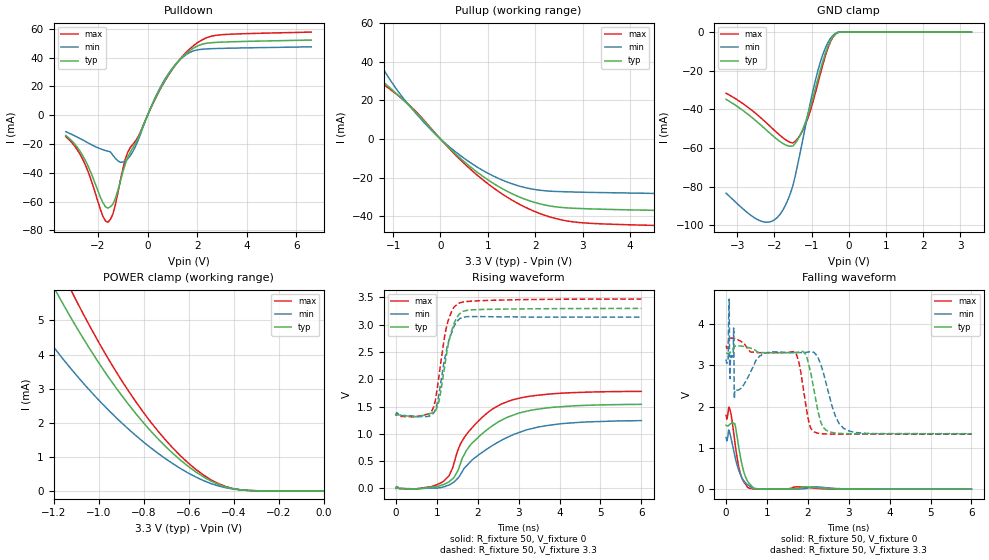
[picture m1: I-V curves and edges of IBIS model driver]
| IBIS file io_buf_50ps_probe.ibs created by PYS2IBIS3
| Missouri S&T EMC Lab
[IBIS Ver] 5.1
[File Name] io_buf_50ps_probe.ibs
[File Rev] 0.1
[Date] December 6, 2025
[Source] Netlist generated by Grok
[Notes] Observation pass for parameter selection.
[Disclaimer] This buffer is not a real buffer. It is a imaginay buffer. What
 is a imaginay buffer? An imagnary buffer is a buffer that is...
[Copyright] Missouri S&T EMC Lab
[Component] MCM Driver 1
[Manufacturer] MegaFLOPS Inc.
[Package]
| variable   typ   min   max
R_pkg 0 NA NA
L_pkg 0H NA NA
C_pkg 0F NA NA
[Pin]  signal_name   model_name   R_pin   L_pin   C_pin
vss   vss   GND
vdd   vdd   POWER
| oe oe dummy
| in in dummy
out   out   driver
| End of Component
| Models and submodels in the file (1): driver (I/O)
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[Model] driver
Model_type I/O
Polarity Non-Inverting
Enable Active-High
Vinl  = 0.8V
Vinh  = 2V
C_comp 1.2000pF 1.0000pF 1.4000pF
[Temperature Range] 27.0000 100.0000 0.0000
[Voltage Range] 3.3000V 3.0000V 3.6000V
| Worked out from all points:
|   slope of the pulldown table from 0 to 0.495 V, typ, clamps not added: 27.4 ohm
|   slope of the pullup table from 0 to 0.495 V, typ, clamps not added: 42.7 ohm
|   GND clamp passes 1 mA (typ) near -0.36 V on its own axis
|   POWER clamp passes 1 mA (typ) near -0.65 V on its own axis
|   rising waveform, R_fixture 50, V_fixture 0: 20-80 % time 1.04ns typ, 1.32ns min, 928ps max; typ from 0 V to 1.54 V
|   rising waveform, R_fixture 50, V_fixture 3.3: 20-80 % time 281ps typ, 278ps min, 270ps max; typ from 1.34 V to 3.3 V
|   falling waveform, R_fixture 50, V_fixture 0: 20-80 % time 196ps typ, 232ps min, 180ps max; typ from 1.54 V to 0 V
|   falling waveform, R_fixture 50, V_fixture 3.3: 20-80 % time 238ps typ, 315ps min, 211ps max; typ from 3.3 V to 1.34 V
[Pulldown]
| Voltage   I(typ)   I(min)   I(max)
-3.3V     -14.11mA   -11.49mA   -14.92mA
-2.6V     -28.62mA   -17.33mA   -31.26mA
-1.8V     -60.89mA   -24.01mA   -70.36mA
-1.6V     -64.58mA   -24.99mA   -74.37mA
-1.3V     -57.87mA   -29.98mA   -62.22mA
-1V       -39.62mA   -32.58mA   -37.38mA
-800mV    -29.26mA   -30.26mA   -25.73mA
-400mV    -16.61mA   -18.23mA   -15.56mA
600mV     21.34mA    22.16mA    20.91mA
1.7V      44.86mA    43.6mA     46.12mA
2.8V      50.65mA    46.37mA    55.62mA
6.6V      52.2mA     47.56mA    57.78mA
[Pullup]
| Voltage   I(typ)   I(min)   I(max)
-3.3V     52.9mA     288mA      32.03mA
-2.9V     57.26mA    200.3mA    40.86mA
-2.5V     55.97mA    137.1mA    43.93mA
-2.2V     50.87mA    101.5mA    42.91mA
-1.7V     40.21mA    61.42mA    36.21mA
-1V       25.06mA    28.32mA    24.59mA
-200mV    5.278mA    4.74mA     5.561mA
600mV     -13.78mA   -11.72mA   -14.92mA
1.5V      -28.2mA    -23.1mA    -31.5mA
2.2V      -34.15mA   -26.79mA   -39.49mA
2.9V      -35.95mA   -27.49mA   -43.18mA
6.6V      -37.71mA   -28.71mA   -45.68mA
[GND Clamp]
| Voltage   I(typ)   I(min)   I(max)
-3.3V     -34.82mA   -83.32mA   -31.62mA
-2.367V   -48.08mA   -97.77mA   -44.32mA
-2.1V     -52.69mA   -98.1mA    -49.02mA
-1.833V   -56.87mA   -93.93mA   -53.7mA
-1.633V   -58.86mA   -86.63mA   -56.5mA
-1.5V     -58.92mA   -79.34mA   -57.37mA
-1.233V   -50.13mA   -55.35mA   -50.74mA
-1.033V   -38.66mA   -36.46mA   -40.67mA
-766.7mV  -19.68mA   -15.62mA   -21.83mA
-566.7mV  -7.562mA   -5.625mA   -8.589mA
-366.7mV  -1.04mA    -747.4uA   -1.186mA
3.3V      806.1pA    7.276uA    187.3pA
[POWER Clamp]
| Voltage   I(typ)   I(min)   I(max)
-3.3V     69.1mA     63.7mA     73.07mA
-1.367V   8.162mA    5.773mA    9.455mA
-1.2V     5.986mA    4.223mA    6.947mA
-1.167V   5.586mA    3.941mA    6.483mA
-1.133V   5.198mA    3.669mA    6.033mA
-1.1V     4.823mA    3.406mA    5.596mA
-966.7mV  3.44mA     2.442mA    3.986mA
-833.3mV  2.26mA     1.618mA    2.607mA
-700mV    1.29mA     934.1uA    1.477mA
-566.7mV  553.4uA    405uA      627uA
-400mV    62.27uA    53.24uA    65.79uA
0V        806.1pA    6.115nA    316.9pA
[Ramp]
| variable   typ   min   max
dV/dt_r 0.9240/1.036n 0.7446/1.321n 1.0668/0.9278n
dV/dt_f 1.1772/0.236n 1.0914/0.3121n 1.2714/0.2043n
R_load = 50
[Rising Waveform]
R_fixture = 50
V_fixture = 0
|time   V(typ)   V(min)   V(max)
0s        7.302nV    59.67nV    2.904nV
1.165ns   70.03mV    25.15mV    129.6mV
1.297ns   119.3mV    59.91mV    228mV
1.417ns   197.4mV    113.4mV    459.2mV
1.562ns   420.7mV    233.8mV    790mV
1.754ns   726.6mV    435.3mV    1.018V
2.204ns   1.061V     709mV      1.365V
2.739ns   1.308V     939.7mV    1.595V
3.784ns   1.481V     1.162V     1.731V
6ns       1.54V      1.241V     1.778V
[Rising Waveform]
R_fixture = 50
V_fixture = 3.3
|time   V(typ)   V(min)   V(max)
0s        1.338V     1.342V     1.329V
450.5ps   1.317V     1.319V     1.309V
882.9ps   1.383V     1.35V      1.424V
967ps     1.424V     1.448V     1.626V
1.045ns   1.575V     1.695V     2.015V
1.237ns   2.461V     2.543V     2.967V
1.345ns   2.851V     2.824V     3.218V
1.514ns   3.159V     3.079V     3.388V
1.832ns   3.274V     3.151V     3.432V
6ns       3.299V     3.139V     3.471V
[Falling Waveform]
R_fixture = 50
V_fixture = 0
|time   V(typ)   V(min)   V(max)
0s        1.545V     1.247V     1.783V
24ps      1.536V     1.175V     1.701V
66.1ps    1.543V     1.434V     1.98V
90.1ps    1.567V     1.371V     1.944V
210.2ps   1.588V     812.4mV    1.171V
288.3ps   1.149V     520.1mV    652.2mV
372.4ps   670.6mV    306.7mV    308.7mV
576.6ps   127.4mV    73.17mV    20.06mV
876.9ps   2.377mV    2.253mV    573.1uV
6ns       -1.267uV   -1.584uV   3.793uV
[Falling Waveform]
R_fixture = 50
V_fixture = 3.3
|time   V(typ)   V(min)   V(max)
0s        3.3V       3.139V     3.472V
54.1ps    3.282V     3.23V      3.514V
78.1ps    3.289V     4.6V       3.662V
96.1ps    3.301V     2.672V     3.664V
186.2ps   3.404V     3.899V     3.649V
204.2ps   3.445V     2.191V     3.646V
1.694ns   3.307V     3.302V     3.306V
2.174ns   2.26V      3.286V     1.376V
2.967ns   1.342V     1.423V     1.329V
6ns       1.338V     1.342V     1.329V
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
